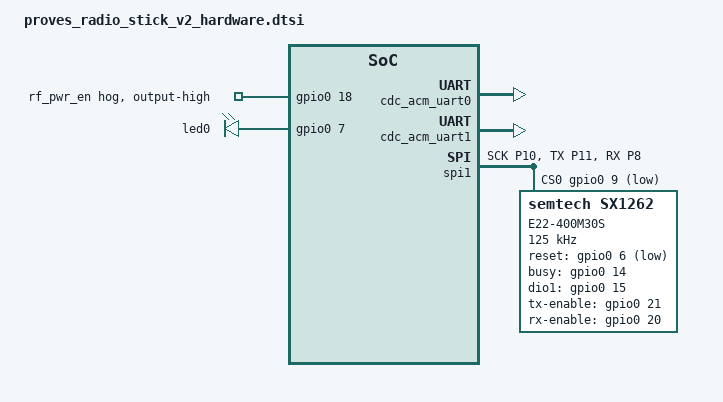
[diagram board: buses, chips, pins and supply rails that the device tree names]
#include <zephyr/dt-bindings/lora/sx126x.h>

&zephyr_udc0 {
	cdc_acm_uart0: cdc_acm_uart0 {
		compatible = "zephyr,cdc-acm-uart";
	};
	cdc_acm_uart1: cdc_acm_uart1 {
		compatible = "zephyr,cdc-acm-uart";
	};
};

&pinctrl {
	spi1_default: spi1_default {
		group1 {
			pinmux = <SPI1_SCK_P10>, <SPI1_TX_P11>;
		};

		group2 {
			pinmux = <SPI1_RX_P8>;
			input-enable;
		};
	};

	i2c1_j4: i2c1_j4 {
		group1 {
			pinmux = <I2C1_SDA_P2>, <I2C1_SCL_P3>;
			input-enable;
			input-schmitt-enable;
		};
	};
};

&i2c1 {
	pinctrl-0 = <&i2c1_j4>;
};

&flash0 {
	reg = <0x10000000 DT_SIZE_M(16)>;
};

&spi1 {
	status = "okay";
	cs-gpios = <&gpio0 9 GPIO_ACTIVE_LOW>;
	pinctrl-0 = <&spi1_default>;
	pinctrl-names = "default";

	lora0: sx1262@0 {
		/* Zephyr has no semtech,sx1268 binding; the SX1262 binding drives the SX1268. */
		compatible = "semtech,sx1262";
		reg = <0>;
		spi-max-frequency = <125000>;
		reset-gpios = <&gpio0 6 GPIO_ACTIVE_LOW>;
		busy-gpios = <&gpio0 14 GPIO_ACTIVE_HIGH>;
		dio1-gpios = <&gpio0 15 GPIO_ACTIVE_HIGH>;
		tx-enable-gpios = <&gpio0 21 (GPIO_PULL_DOWN | GPIO_ACTIVE_HIGH)>;
		rx-enable-gpios = <&gpio0 20 (GPIO_PULL_DOWN | GPIO_ACTIVE_HIGH)>;
		dio3-tcxo-voltage = <SX126X_DIO3_TCXO_1V8>;
		tcxo-power-startup-delay-ms = <10>;
		rx-boosted;
		label = "E22-400M30S";
	};
};

&gpio0 {
	rf_pwr_en {
		gpio-hog;
		gpios = <18 GPIO_ACTIVE_HIGH>;
		output-high;
	};
};

&led0 {
	gpios = <&gpio0 7 GPIO_ACTIVE_HIGH>;
};

/ {
	chosen {
		zephyr,console = &cdc_acm_uart0;
	};
};
